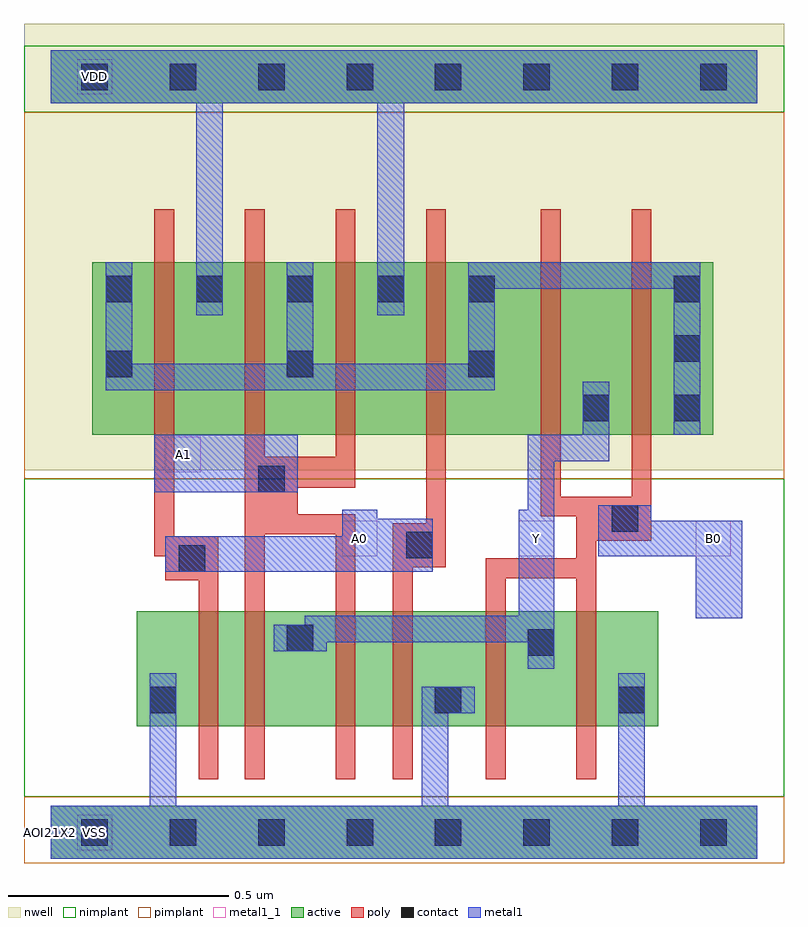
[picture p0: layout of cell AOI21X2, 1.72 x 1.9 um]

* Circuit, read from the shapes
.subckt AOI21X2 A0 A1 B0 VDD VSS Y
M1 n1 A0 VSS VSS nfet w=0.26u l=0.045u
M2 Y A1 n1 VSS nfet w=0.26u l=0.045u
M3 n2 A1 Y VSS nfet w=0.26u l=0.045u
M4 VSS A0 n2 VSS nfet w=0.26u l=0.045u
M5 Y B0 VSS VSS nfet w=0.26u l=0.045u m=2
M6 VDD A0 n3 VDD pfet w=0.39u l=0.045u m=2
M7 n3 A1 VDD VDD pfet w=0.39u l=0.045u m=2
M8 Y B0 n3 VDD pfet w=0.39u l=0.045u m=2
.ends

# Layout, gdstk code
import gdstk
lib = gdstk.Library(unit=1e-6, precision=5e-10)
def R(c, l, rs):  # rectangles x0, y0, x1, y1
    for r in rs: c.add(gdstk.rectangle(r[:2], r[2:], *l))
def A(c, l, x, y, w, h, nx, ny, dx, dy):  # array of equal rectangles
    R(c, l, [(x+i*dx, y+j*dy, x+i*dx+w, y+j*dy+h) for i in range(nx) for j in range(ny)])
def P(c, l, *ps):  # polygons
    for p in ps: c.add(gdstk.Polygon(p, *l))
active = (1, 0)
nwell = (2, 0)
poly = (3, 0)
nimplant = (4, 0)
pimplant = (5, 0)
contact = (6, 0)
metal1 = (7, 0)
metal1_1 = (7, 1)

aoi21x2 = lib.new_cell('AOI21X2')
R(aoi21x2, active, [(0,-0.06,1.6,0.06), (0.195,0.24,1.375,0.5), (0.095,0.9,1.5,1.29), (0,1.65,1.6,1.77)])
R(aoi21x2, nwell, [(-0.06,0.82,1.66,1.83)])
P(aoi21x2, poly, [(0.235,1.41),(0.28,1.41),(0.28,0.67),(0.38,0.67),(0.38,0.12),(0.335,0.12),(0.335,0.57),(0.26,0.57),(0.26,0.625),(0.235,0.625)],
  [(0.44,1.41),(0.485,1.41),(0.485,0.85),(0.645,0.85),(0.645,1.41),(0.69,1.41),(0.69,0.78),(0.56,0.78),(0.56,0.72),(0.69,0.72),(0.69,0.12),(0.645,0.12),(0.645,0.675),(0.485,0.675),(0.485,0.12),(0.44,0.12)],
  [(0.85,1.41),(0.895,1.41),(0.895,0.6),(0.82,0.6),(0.82,0.12),(0.775,0.12),(0.775,0.7),(0.85,0.7)],
  [(1.11,1.41),(1.155,1.41),(1.155,0.76),(1.315,0.76),(1.315,1.41),(1.36,1.41),(1.36,0.66),(1.235,0.66),(1.235,0.12),(1.19,0.12),(1.19,0.575),(1.03,0.575),(1.03,0.12),(0.985,0.12),(0.985,0.62),(1.19,0.62),(1.19,0.715),(1.11,0.715)])
R(aoi21x2, nimplant, [(-0.06,0.08,1.66,0.8), (-0.06,1.63,1.66,1.78)])
R(aoi21x2, pimplant, [(-0.06,-0.07,1.66,0.08), (-0.06,0.8,1.66,1.63)])
A(aoi21x2, contact, 0.07, -0.03, 0.06, 0.06, 8, 2, 0.2, 1.71)
A(aoi21x2, contact, 1.41, 0.93, 0.06, 0.06, 1, 3, 0, 0.135)
A(aoi21x2, contact, 0.125, 1.03, 0.06, 0.06, 3, 1, 0.41, 0)
A(aoi21x2, contact, 0.125, 1.2, 0.06, 0.06, 5, 1, 0.205, 0)
R(aoi21x2, contact, [(0.225,0.27,0.285,0.33), (0.87,0.27,0.93,0.33), (1.285,0.27,1.345,0.33), (1.08,0.4,1.14,0.46), (0.535,0.41,0.595,0.47), (0.29,0.59,0.35,0.65), (0.805,0.62,0.865,0.68), (1.27,0.68,1.33,0.74), (0.47,0.77,0.53,0.83), (1.205,0.93,1.265,0.99)])
R(aoi21x2, metal1, [(0.235,0.77,0.56,0.9)])
P(aoi21x2, metal1, [(0,1.77),(1.6,1.77),(1.6,1.65),(0.8,1.65),(0.8,1.17),(0.74,1.17),(0.74,1.65),(0.39,1.65),(0.39,1.17),(0.33,1.17),(0.33,1.65),(0,1.65)],
  [(0.125,1.29),(0.185,1.29),(0.185,1.06),(0.535,1.06),(0.535,1.29),(0.595,1.29),(0.595,1.06),(0.945,1.06),(0.945,1.29),(1.47,1.29),(1.47,0.9),(1.41,0.9),(1.41,1.23),(1.005,1.23),(1.005,1),(0.125,1)],
  [(1.205,1.02),(1.265,1.02),(1.265,0.84),(1.14,0.84),(1.14,0.37),(1.08,0.37),(1.08,0.43),(0.625,0.43),(0.625,0.41),(0.505,0.41),(0.505,0.47),(0.575,0.47),(0.575,0.49),(1.06,0.49),(1.06,0.73),(1.08,0.73),(1.08,0.9),(1.205,0.9)],
  [(0.66,0.73),(0.74,0.73),(0.74,0.71),(0.865,0.71),(0.865,0.59),(0.26,0.59),(0.26,0.67),(0.66,0.67)],
  [(1.24,0.74),(1.36,0.74),(1.36,0.705),(1.565,0.705),(1.565,0.485),(1.46,0.485),(1.46,0.625),(1.24,0.625)],
  [(0.225,0.36),(0.285,0.36),(0.285,0.06),(0.84,0.06),(0.84,0.33),(0.96,0.33),(0.96,0.27),(0.9,0.27),(0.9,0.06),(1.285,0.06),(1.285,0.36),(1.345,0.36),(1.345,0.06),(1.6,0.06),(1.6,-0.06),(0,-0.06),(0,0.06),(0.225,0.06)])
A(aoi21x2, metal1_1, 0.66, 0.625, 0.08, 0.08, 3, 1, 0.4, 0)
R(aoi21x2, metal1_1, [(0.06,-0.04,0.14,0.04), (0.26,0.815,0.34,0.895), (0.06,1.67,0.14,1.75)])
aoi21x2.add(gdstk.Label('VSS', (0.1,0), layer=7, texttype=1))
aoi21x2.add(gdstk.Label('VDD', (0.1,1.71), layer=7, texttype=1))
aoi21x2.add(gdstk.Label('B0', (1.5,0.665), layer=7, texttype=1))
aoi21x2.add(gdstk.Label('A0', (0.7,0.665), layer=7, texttype=1))
aoi21x2.add(gdstk.Label('A1', (0.3,0.855), layer=7, texttype=1))
aoi21x2.add(gdstk.Label('Y', (1.1,0.665), layer=7, texttype=1))
aoi21x2.add(gdstk.Label('AOI21X2', (0,0), layer=63, texttype=0))

lib.write_gds('AOI21X2.gds')
